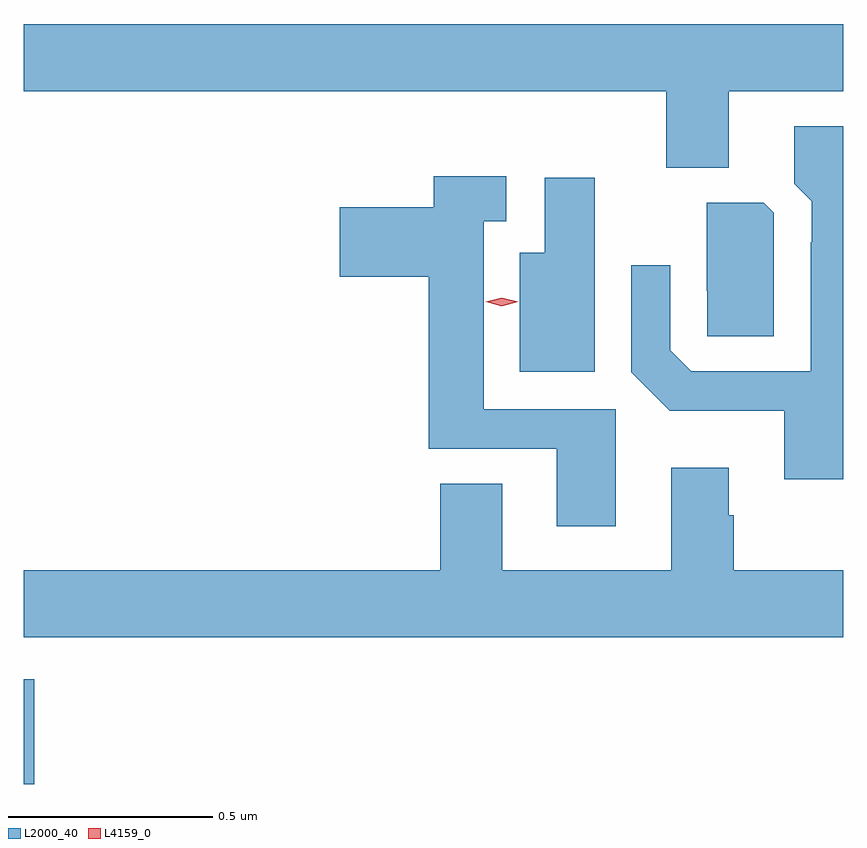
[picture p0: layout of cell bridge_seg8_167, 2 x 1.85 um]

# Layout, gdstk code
import gdstk
lib = gdstk.Library(unit=1e-6, precision=1e-09)
def R(c, l, rs):  # rectangles x0, y0, x1, y1
    for r in rs: c.add(gdstk.rectangle(r[:2], r[2:], *l))
def P(c, l, *ps):  # polygons
    for p in ps: c.add(gdstk.Polygon(p, *l))
L2000_40 = (2000, 40)
L4159_0 = (4159, 0)

bridge_seg8_167 = lib.new_cell('bridge_seg8_167')
R(bridge_seg8_167, L2000_40, [(552.417,1086.838,552.443,1087.093)])
P(bridge_seg8_167, L2000_40, [(554.137,1088.528),(554.417,1088.528),(554.417,1088.692),(552.417,1088.692),(552.417,1088.528),(553.985,1088.528),(553.985,1088.341),(554.137,1088.341)],
  [(554.417,1088.443),(554.297,1088.443),(554.297,1088.302),(554.34,1088.259),(554.34,1088.159),(554.337,1088.159),(554.337,1087.845),(554.046,1087.845),(553.995,1087.896),(553.995,1088.104),(553.899,1088.104),(553.899,1087.842),(553.993,1087.748),(554.273,1087.748),(554.273,1087.581),(554.417,1087.581)],
  [(553.861,1087.752),(553.54,1087.752),(553.54,1088.211),(553.594,1088.211),(553.594,1088.321),(553.418,1088.321),(553.418,1088.245),(553.188,1088.245),(553.188,1088.075),(553.406,1088.075),(553.406,1087.656),(553.718,1087.656),(553.718,1087.467),(553.861,1087.467)],
  [(553.81,1088.317),(553.688,1088.317),(553.688,1088.134),(553.628,1088.134),(553.628,1087.844),(553.81,1087.844)],
  [(554.247,1088.232),(554.223,1088.256),(554.084,1088.256),(554.084,1088.041),(554.085,1088.041),(554.085,1087.93),(554.247,1087.93)],
  [(554.417,1087.36),(554.15,1087.36),(554.15,1087.493),(554.137,1087.493),(554.137,1087.609),(553.997,1087.609),(553.997,1087.36),(553.585,1087.36),(553.585,1087.571),(553.433,1087.571),(553.433,1087.36),(552.417,1087.36),(552.417,1087.196),(554.417,1087.196)])
P(bridge_seg8_167, L4159_0, [(553.584,1088.004),(553.544,1088.014),(553.543,1088.014),(553.544,1088.014),(553.584,1088.024),(553.624,1088.014),(553.624,1088.014),(553.624,1088.014)])

lib.write_gds('bridge_seg8_167.gds')
